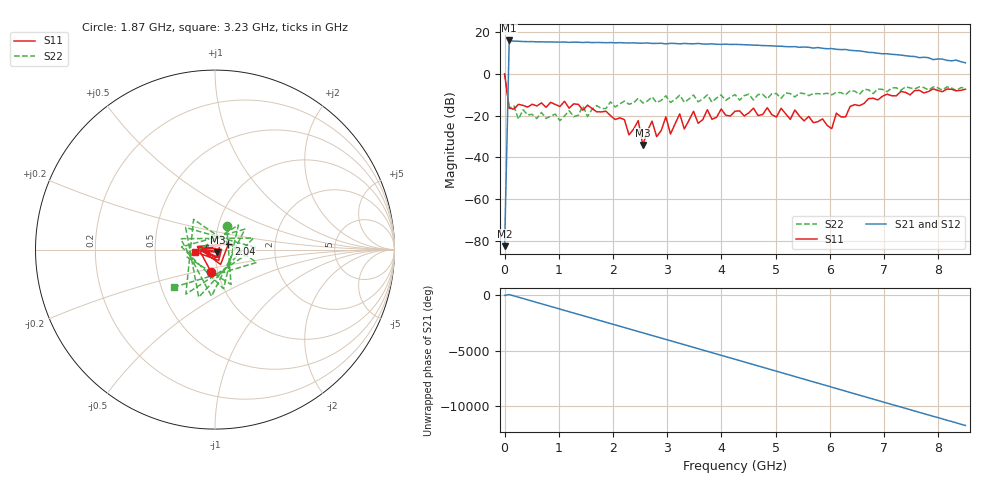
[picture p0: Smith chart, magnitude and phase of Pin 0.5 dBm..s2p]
! RsaToolbox (C) 2013 Rohde & Schwarz America
! Number of points: 101
! Number of ports: 2
! Balanced ports?: 0
# Hz S RI R 50
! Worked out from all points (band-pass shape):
!   101 points, 9 kHz to 8.5 GHz, reference 50 ohm
!   highest |S21| = 15.96 dB at 85.01 MHz (marker M1); lowest = -82.5 dB at 9 kHz (marker M2)
!   |S21| within 3 dB of the highest: 82.42 MHz to 5.257 GHz (5.175 GHz wide, 194 % of centre); 5.282 GHz to 5.369 GHz (86.74 MHz wide, 1.63 % of centre)
!   lowest |S11| = -34.1 dB at 2.55 GHz (marker M3), VSWR 1.04, Z = 51.4 - j1.46 ohm
!   |S11| at or under -10 dB: 51.91 MHz to 7.033 GHz (6.981 GHz wide, 197 % of centre); 7.085 GHz to 7.247 GHz (161.9 MHz wide, 2.26 % of centre); 7.473548 GHz to 7.483812 GHz (10.26 MHz wide, 0.137 % of centre)
!   |S22| runs from -22.4 to 0.1 dB; largest |S21 - S12| = 0
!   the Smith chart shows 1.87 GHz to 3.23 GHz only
!   S11 on the Smith chart (normalised r, x): 1.87 GHz: 0.93, -0.24; 2.04 GHz: 1.16, +0.07; 3.23 GHz: 0.80, -0.02
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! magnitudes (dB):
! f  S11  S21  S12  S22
! 9 kHz  0.0  -82.5  -82.5  0.1
! 85.01 MHz  -16.4  16.0  16.0  -16.6
! 1.02 GHz  -15.6  15.2  15.2  -22.4
! 1.445 GHz  -17.4  15.0  15.0  -15.3
! 1.87 GHz  -17.9  14.9  14.9  -16.6
! 2.04 GHz  -21.9  14.8  14.8  -15.9
! 2.295 GHz  -29.2  14.8  14.8  -14.6
! 2.465 GHz  -22.4  14.7  14.7  -11.7
! 2.55 GHz  -34.1  14.7  14.7  -13.9
! 2.72 GHz  -22.7  14.5  14.5  -11.1
! 2.89 GHz  -27.1  14.6  14.6  -12.7
! 3.06 GHz  -28.8  14.6  14.6  -13.7
! 3.23 GHz  -19.2  14.3  14.3  -10.2
! 3.315 GHz  -26.4  14.5  14.5  -13.6
! 3.485 GHz  -17.9  14.3  14.3  -10.2
! 3.57 GHz  -23.7  14.5  14.5  -13.4
! 4.25 GHz  -17.9  14.1  14.1  -9.9
! 5.695 GHz  -23.4  12.3  12.3  -9.5
! 6.035 GHz  -26.2  12.1  12.1  -10.0
! 6.12 GHz  -18.8  11.7  11.7  -8.8
! 7.14 GHz  -10.5  9.3  9.3  -6.8
! 8.5 GHz  -7.4  5.2  5.2  -6.7
